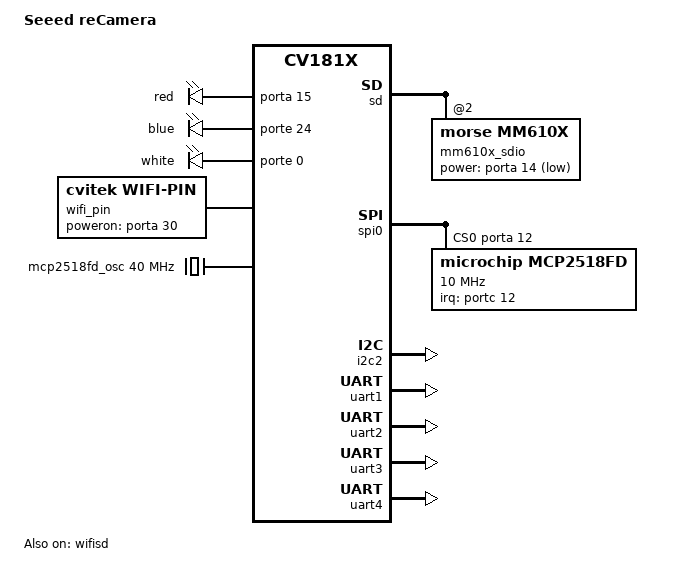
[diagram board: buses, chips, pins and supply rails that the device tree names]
/dts-v1/;
#include "cv181x_base_riscv.dtsi"
/*#include "cv181x_asic_qfn.dtsi"*/
/*#include "cv181x_asic_sd.dtsi"*/
#include "cv181x_default_memmap.dtsi"

&sd {
	no-1-8-v;
    non-removable;
	max-frequency = <50000000>;

    /delete-property/ no-sdio;
    /delete-property/ cvi-cd-gpios;

    /delete-property/ cap-sd-highspeed;
    /delete-property/ sd-uhs-sdr104;

	mm610x_sdio: mm610x-sdio {
		compatible = "morse,mm610x";
        power-gpios = <&porta 14 GPIO_ACTIVE_LOW>;
		reg = <2>;
		status = "okay";
	};
};

&emmc {
    max-frequency = <50000000>;
};

&mipi_rx{
	/delete-property/ snsr-reset;
};

&mipi_tx {
	/delete-property/ reset-gpio;
	/delete-property/ pwm-gpio;
	/delete-property/ power-ct-gpio;
};

&dac{
	/delete-property/ mute-gpio-r;
};

&portc {
	#interrupt-cells = <2>;
};

&spi0 {
	status = "okay";
	num-cs = <1>;
	cs-gpios = <&porta 12 0>;

	mcp2518fd: mcp2518fd@0 {
		reg = <0>;
		compatible = "microchip,mcp2518fd";
		spi-max-frequency = <10000000>;
		clocks = <&mcp2518fd_osc>;
		interrupts = <12 IRQ_TYPE_LEVEL_LOW>;
		interrupt-parent = <&portc>;
	};
};

&spi1 {
	status = "disabled";
};

&spi2 {
	status = "disabled";
};

&spi3 {
	status = "disabled";
};

&i2c0 {
	status = "disabled";
};

&i2c1 {
	status = "disabled";
};

&i2c2 {
	status = "okay";
};

&i2c3 {
	status = "disabled";
};

&i2c4 {
	status = "disabled";
};

&uart1 {
	status = "okay";
};

&uart2 {
	status = "okay";
};

&uart3 {
	status = "okay";
};

&uart4 {
	status = "okay";
};

&wifisd {
	status = "okay";
};

/ {
	model = "Seeed reCamera";

	/delete-node/ cvi-spif@10000000;
	/delete-node/ cv-spinf@4060000;

	leds {
		compatible = "gpio-leds";

		led0 {
			label = "red";
			gpios = <&porta 15 GPIO_ACTIVE_HIGH>;
			linux,default-trigger = "heartbeat";
			default-state = "on";
		};

		led1 {
			label = "blue";
			gpios = <&porte 24 GPIO_ACTIVE_HIGH>;
			linux,default-trigger = "mmc0";
			default-state = "on";
		};

		led2 {
			label = "white";
			gpios = <&porte 0 GPIO_ACTIVE_HIGH>;
			default-state = "off";
		};
	};

	/delete-node/ bt_pin;
	/delete-node/ wifi_pin;
	wifi_pin {
		compatible = "cvitek,wifi-pin";
		poweron-gpio = <&porta 30 GPIO_ACTIVE_HIGH>;
		/*wakeup-gpio = <&porte 8 GPIO_ACTIVE_HIGH>;*/
	};

	mcp2518fd_osc: mcp2518fd_osc {
		#clock-cells = <0>;
		compatible = "fixed-clock";
		clock-frequency = <40000000>;
	};
};

/* Override CV181X cooling configuration for maximum performance */
&cv181x_cooling {
	dev-freqs = <850000000 700000000>,     /* CPU 850MHz, TPU 700MHz - Max Performance Test */
		    <500000000 500000000>,     /* CPU 500MHz, TPU 500MHz - High Performance */
		    <425000000 400000000>;     /* CPU 425MHz, TPU 400MHz - Medium Performance */
};
